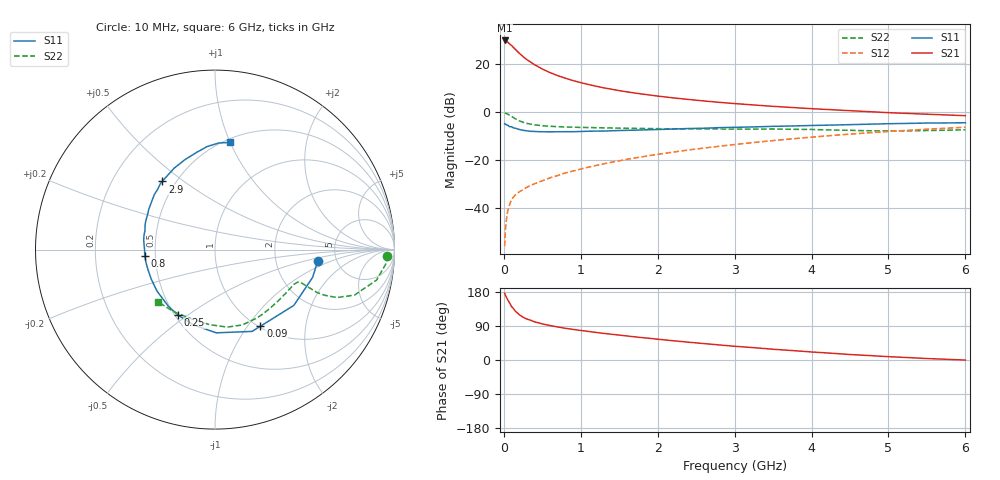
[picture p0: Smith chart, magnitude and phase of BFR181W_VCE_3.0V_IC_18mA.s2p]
! Infineon Technologies  Discrete & RF Semiconductors
! BFR181W
! VCE =  3.0 V,  IC =  18 mA
! Common Emitter S-Parameters:  Jan 2017
# GHz  S  MA  R  50
!  f  S11  S21  S12  S22
! GHz  MAG  ANG  MAG  ANG  MAG  ANG  MAG  ANG
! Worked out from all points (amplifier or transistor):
!   77 points, 10 MHz to 6 GHz, reference 50 ohm
!   highest |S21| = 30.0 dB at 10 MHz (marker M1)
!   |S21| within 3 dB of that: start of sweep to 127.7 MHz
!   unconditionally stable (mu >= 1): 497.7 MHz to 2.636 GHz
!   at 130 MHz: K = 0.45, MSG = 31.1 dB, |S12| = -35.2 dB
!   at 2.2 GHz: K = 1.06, MAG = 9.8 dB, |S12| = -16.7 dB
!   at 6 GHz: K = 0.86, MSG = 2.4 dB, |S12| = -6.3 dB
!   S11 on the Smith chart (normalised r, x): 10 MHz: 3.56, -0.70; 90 MHz: 1.02, -1.15; 250 MHz: 0.52, -0.46; 800 MHz: 0.44, -0.03; 2.9 GHz: 0.42, +0.42; 6 GHz: 0.53, +1.00
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0.01  0.5752 -6.6  31.46 176.1  0.0016 96.6  0.96 -2.0
0.02  0.5655 -15.9  31.16 170.9  0.0034 86.1  0.9589 -4.3
0.05  0.5381 -35.3  29.19 158.6  0.0086 75.7  0.9159 -10.7
0.09  0.4962 -59.3  25.42 145.1  0.0137 69.1  0.8357 -16.5
0.1  0.5004 -65.6  24.75 141.1  0.015 68.1  0.8172 -18.1
0.15  0.4638 -89.1  20.51 128.8  0.0189 62.4  0.7284 -21.5
0.2  0.4367 -105.9  17.05 119.6  0.0217 62.0  0.6627 -22.6
0.25  0.4189 -119.3  14.48 113.0  0.0243 59.5  0.6173 -22.8
0.3  0.4089 -129.5  12.48 108.0  0.0272 60.8  0.5841 -22.3
0.4  0.3972 -144.4  9.77 100.6  0.0322 63.6  0.5449 -21.6
0.5  0.3914 -155.1  7.957 95.3  0.0371 65.5  0.5223 -21.2
0.6  0.3898 -162.9  6.719 90.9  0.0427 67.1  0.5091 -21.1
0.7  0.3912 -169.4  5.807 87.2  0.0477 69.2  0.4994 -21.3
0.8  0.3927 -175.1  5.123 83.7  0.0541 71.0  0.4926 -21.8
1.1  0.4009 172.3  3.786 75.4  0.0714 73.5  0.4789 -24.7
1.5  0.415 159.3  2.825 65.7  0.0969 74.5  0.4648 -30.0
2.1  0.4402 144.0  2.081 52.9  0.1394 74.1  0.4514 -40.9
2.9  0.4801 127.7  1.561 38.0  0.203 70.3  0.4462 -57.7
3.1  0.4876 123.9  1.475 34.8  0.2202 68.9  0.4451 -61.9
4.1  0.5323 106.8  1.163 19.9  0.311 60.5  0.4319 -83.5
5.1  0.5791 93.0  0.964 7.9  0.4047 50.0  0.4072 -111.9
6  0.6027 82.0  0.847 -0.2  0.4863 39.6  0.4307 -137.7
